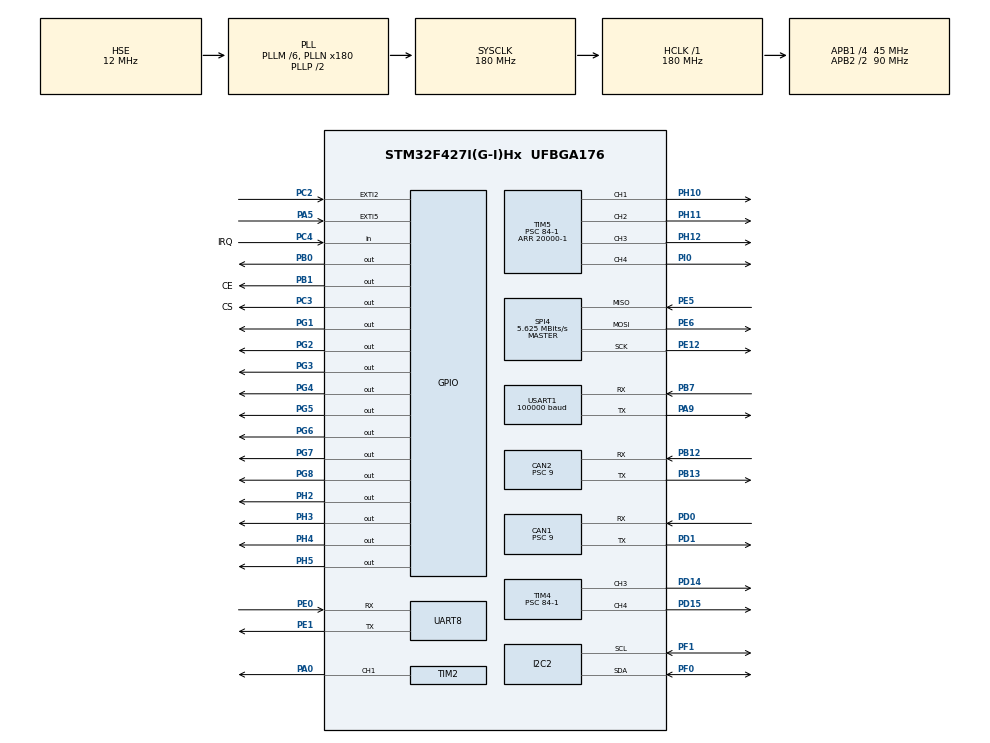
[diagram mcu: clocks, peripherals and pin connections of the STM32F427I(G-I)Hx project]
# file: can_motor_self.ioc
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CAN1.ABOM=DISABLE
CAN1.AWUM=DISABLE
CAN1.BS1=CAN_BS1_2TQ
CAN1.BS2=CAN_BS2_2TQ
CAN1.CalculateBaudRate=1000000
CAN1.CalculateTimeBit=1000
CAN1.CalculateTimeQuantum=200.0
CAN1.Prescaler=9
CAN1.TTCM=DISABLE
CAN2.BS1=CAN_BS1_2TQ
CAN2.BS2=CAN_BS2_2TQ
CAN2.CalculateBaudRate=1000000
CAN2.CalculateTimeBit=1000
CAN2.CalculateTimeQuantum=200.0
CAN2.Prescaler=9
Dma.Request0=UART8_TX
Dma.Request1=UART8_RX
Dma.UART8_RX.1.Direction=DMA_PERIPH_TO_MEMORY
Dma.UART8_RX.1.FIFOMode=DMA_FIFOMODE_DISABLE
Dma.UART8_RX.1.Instance=DMA1_Stream6
Dma.UART8_RX.1.MemDataAlignment=DMA_MDATAALIGN_BYTE
Dma.UART8_RX.1.MemInc=DMA_MINC_ENABLE
Dma.UART8_RX.1.Mode=DMA_NORMAL
Dma.UART8_RX.1.PeriphDataAlignment=DMA_PDATAALIGN_BYTE
Dma.UART8_RX.1.PeriphInc=DMA_PINC_DISABLE
Dma.UART8_RX.1.Priority=DMA_PRIORITY_VERY_HIGH
Dma.UART8_TX.0.Direction=DMA_MEMORY_TO_PERIPH
Dma.UART8_TX.0.FIFOMode=DMA_FIFOMODE_DISABLE
Dma.UART8_TX.0.Instance=DMA1_Stream0
Dma.UART8_TX.0.MemDataAlignment=DMA_MDATAALIGN_BYTE
Dma.UART8_TX.0.MemInc=DMA_MINC_ENABLE
Dma.UART8_TX.0.Mode=DMA_NORMAL
Dma.UART8_TX.0.PeriphDataAlignment=DMA_PDATAALIGN_BYTE
Dma.UART8_TX.0.PeriphInc=DMA_PINC_DISABLE
Dma.UART8_TX.0.Priority=DMA_PRIORITY_VERY_HIGH
Mcu.Family=STM32F4
Mcu.Name=STM32F427I(G-I)Hx
Mcu.Package=UFBGA176
NVIC.CAN1_RX0_IRQn=true\:0\:0\:false\:false\:true\:true\:true\:true
NVIC.CAN2_RX0_IRQn=true\:0\:0\:false\:false\:true\:true\:true\:true
NVIC.DMA1_Stream0_IRQn=true\:0\:0\:false\:false\:true\:false\:true\:true
NVIC.DMA1_Stream6_IRQn=true\:0\:0\:false\:false\:true\:false\:true\:true
NVIC.PriorityGroup=NVIC_PRIORITYGROUP_4
NVIC.TIM1_UP_TIM10_IRQn=true\:15\:0\:false\:false\:true\:false\:true\:true
NVIC.TimeBase=TIM1_UP_TIM10_IRQn
NVIC.TimeBaseIP=TIM1
NVIC.UART8_IRQn=true\:0\:0\:false\:false\:true\:true\:true\:true
NVIC.USART1_IRQn=true\:0\:0\:false\:false\:true\:true\:true\:true
PA0/WKUP.Signal=S_TIM2_CH1_ETR
PA1.Signal=S_TIM2_CH2
PA13.Mode=Serial_Wire
PA13.Signal=SYS_JTMS-SWDIO
PA14.Mode=Serial_Wire
PA14.Signal=SYS_JTCK-SWCLK
PA2.Signal=S_TIM2_CH3
PA5.Signal=GPXTI5
PA9.Mode=Asynchronous
PA9.Signal=USART1_TX
PB0.PinState=GPIO_PIN_SET
PB0.Signal=GPIO_Output
PB1.GPIO_Label=CE
PB1.GPIO_PuPd=GPIO_PULLUP
PB1.GPIO_Speed=GPIO_SPEED_FREQ_HIGH
PB1.PinState=GPIO_PIN_SET
PB1.Signal=GPIO_Output
PB12.Mode=CAN_Activate
PB12.Signal=CAN2_RX
PB13.Mode=CAN_Activate
PB13.Signal=CAN2_TX
PB7.Mode=Asynchronous
PB7.Signal=USART1_RX
PC2.Signal=GPXTI2
PC3.GPIO_Label=CS
PC3.GPIO_PuPd=GPIO_PULLUP
PC3.GPIO_Speed=GPIO_SPEED_FREQ_HIGH
PC3.PinState=GPIO_PIN_SET
PC3.Signal=GPIO_Output
PC4.GPIO_Label=IRQ
PC4.GPIO_PuPd=GPIO_PULLUP
PC4.Signal=GPIO_Input
PD0.Mode=CAN_Activate
PD0.Signal=CAN1_RX
PD1.Mode=CAN_Activate
PD1.Signal=CAN1_TX
PD14.Signal=S_TIM4_CH3
PD15.Signal=S_TIM4_CH4
PE0.Mode=Asynchronous
PE0.Signal=UART8_RX
PE1.Mode=Asynchronous
PE1.Signal=UART8_TX
PE12.Mode=Full_Duplex_Master
PE12.Signal=SPI4_SCK
PE5.Mode=Full_Duplex_Master
PE5.Signal=SPI4_MISO
PE6.Mode=Full_Duplex_Master
PE6.Signal=SPI4_MOSI
PE7.Signal=UART7_RX
PE8.Signal=UART7_TX
PF0.Mode=I2C
PF0.Signal=I2C2_SDA
PF1.Mode=I2C
PF1.Signal=I2C2_SCL
PG1.GPIO_ModeDefaultOutputPP=GPIO_MODE_OUTPUT_PP
PG1.GPIO_PuPd=GPIO_PULLUP
PG1.Signal=GPIO_Output
PG2.Signal=GPIO_Output
PG3.Signal=GPIO_Output
PG4.Signal=GPIO_Output
PG5.Signal=GPIO_Output
PG6.Signal=GPIO_Output
PG7.Signal=GPIO_Output
PG8.Signal=GPIO_Output
PH0/OSC_IN.Mode=HSE-External-Oscillator
PH0/OSC_IN.Signal=RCC_OSC_IN
PH1/OSC_OUT.Mode=HSE-External-Oscillator
PH1/OSC_OUT.Signal=RCC_OSC_OUT
PH10.Signal=S_TIM5_CH1
PH11.Signal=S_TIM5_CH2
PH12.Signal=S_TIM5_CH3
PH2.GPIO_PuPd=GPIO_PULLUP
PH2.Signal=GPIO_Output
PH3.GPIO_PuPd=GPIO_PULLUP
PH3.Signal=GPIO_Output
PH4.GPIO_PuPd=GPIO_PULLUP
PH4.PinState=GPIO_PIN_SET
PH4.Signal=GPIO_Output
PH5.GPIO_PuPd=GPIO_PULLUP
PH5.PinState=GPIO_PIN_RESET
PH5.Signal=GPIO_Output
PI0.Signal=S_TIM5_CH4
ProjectManager.HeapSize=0x200
ProjectManager.StackSize=0x400
ProjectManager.TargetToolchain=MDK-ARM V5.32
RCC.48MHZClocksFreq_Value=90000000
RCC.AHBFreq_Value=180000000
RCC.APB1CLKDivider=RCC_HCLK_DIV4
RCC.APB1Freq_Value=45000000
RCC.APB1TimFreq_Value=90000000
RCC.APB2CLKDivider=RCC_HCLK_DIV2
RCC.APB2Freq_Value=90000000
RCC.APB2TimFreq_Value=180000000
RCC.CortexFreq_Value=180000000
RCC.HCLKFreq_Value=180000000
RCC.HSE_VALUE=12000000
RCC.HSI_VALUE=16000000
RCC.LSE_VALUE=32768
RCC.PLLM=6
RCC.PLLN=180
RCC.PLLSourceVirtual=RCC_PLLSOURCE_HSE
RCC.SYSCLKFreq_VALUE=180000000
RCC.SYSCLKSource=RCC_SYSCLKSOURCE_PLLCLK
RCC.VCOOutputFreq_Value=360000000
SH.S_TIM2_CH1_ETR.0=TIM2_CH1,PWM Generation1 CH1
SH.S_TIM2_CH2.0=TIM2_CH2
SH.S_TIM2_CH3.0=TIM2_CH3
SH.S_TIM4_CH3.0=TIM4_CH3,PWM Generation3 CH3
SH.S_TIM4_CH4.0=TIM4_CH4,PWM Generation4 CH4
SH.S_TIM5_CH1.0=TIM5_CH1,PWM Generation1 CH1
SH.S_TIM5_CH2.0=TIM5_CH2,PWM Generation2 CH2
SH.S_TIM5_CH3.0=TIM5_CH3,PWM Generation3 CH3
SH.S_TIM5_CH4.0=TIM5_CH4,PWM Generation4 CH4
SPI4.BaudRatePrescaler=SPI_BAUDRATEPRESCALER_16
SPI4.CLKPhase=SPI_PHASE_1EDGE
SPI4.CLKPolarity=SPI_POLARITY_LOW
SPI4.CRCCalculation=SPI_CRCCALCULATION_DISABLE
SPI4.CalculateBaudRate=5.625 MBits/s
SPI4.DataSize=SPI_DATASIZE_8BIT
SPI4.Direction=SPI_DIRECTION_2LINES
SPI4.Mode=SPI_MODE_MASTER
SPI4.VirtualType=VM_MASTER
TIM2.AutoReloadPreload=TIM_AUTORELOAD_PRELOAD_ENABLE
TIM2.Channel-PWM\ Generation1\ CH1=TIM_CHANNEL_1
TIM2.Period=2000
TIM2.Prescaler=180-1
TIM2.Pulse-PWM\ Generation1\ CH1=0
TIM4.AutoReloadPreload=TIM_AUTORELOAD_PRELOAD_ENABLE
TIM4.Channel-PWM\ Generation3\ CH3=TIM_CHANNEL_3
TIM4.Channel-PWM\ Generation4\ CH4=TIM_CHANNEL_4
TIM4.Period=20000-1
TIM4.Prescaler=84-1
TIM5.AutoReloadPreload=TIM_AUTORELOAD_PRELOAD_ENABLE
TIM5.Channel-PWM\ Generation1\ CH1=TIM_CHANNEL_1
TIM5.Channel-PWM\ Generation2\ CH2=TIM_CHANNEL_2
TIM5.Channel-PWM\ Generation3\ CH3=TIM_CHANNEL_3
TIM5.Channel-PWM\ Generation4\ CH4=TIM_CHANNEL_4
TIM5.Period=20000-1
TIM5.Prescaler=84-1
UART8.VirtualMode=Asynchronous
USART1.BaudRate=100000
USART1.Mode=MODE_RX
USART1.VirtualMode=VM_ASYNC
VP_SYS_VS_tim1.Mode=TIM1
VP_TIM2_VS_ClockSourceINT.Mode=Internal
board=custom

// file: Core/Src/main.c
/* USER CODE BEGIN Header */
/**
  ******************************************************************************
  * @file           : main.c
  * @brief          : Main program body
  ******************************************************************************
  * @attention
  *
  * Copyright (c) 2024 STMicroelectronics.
  * All rights reserved.
  *
  * This software is licensed under terms that can be found in the LICENSE file
  * in the root directory of this software component.
  * If no LICENSE file comes with this software, it is provided AS-IS.
  *
  ******************************************************************************
  */
/* USER CODE END Header */
#include "main.h"
#include "can.h"
#include "dma.h"
#include "i2c.h"
#include "spi.h"
#include "tim.h"
#include "usart.h"
#include "gpio.h"

/* USER CODE BEGIN Includes */
#include "CAN_receive.h"
#include "bsp_can.h"
#include "A_bsp.h"
#include "motor.h"
#include "Servos.h"
#include "nrf24L01.h"
#include "stdio.h"
#include "remote_control.h"
#include "Vofa_firewater.h"
#include "JY901.h"
#include "JY901_struct.h"
#include "mapan.h"
#include "JYME01.h"
/* USER CODE END Includes */

void SystemClock_Config(void);

int main(void)
{

  /* MCU Configuration--------------------------------------------------------*/

  /* Reset of all peripherals, Initializes the Flash interface and the Systick. */
  HAL_Init();

  /* Configure the system clock */
  SystemClock_Config();

  /* Initialize all configured peripherals */
  MX_GPIO_Init();
  MX_DMA_Init();
  MX_CAN1_Init();
  MX_TIM2_Init();
  MX_SPI4_Init();
  MX_I2C2_Init();
  MX_TIM5_Init();
  MX_USART1_UART_Init();
  MX_CAN2_Init();
  MX_TIM4_Init();
  MX_UART8_Init();
  /* USER CODE BEGIN 2 */

//	remote_control_Init();
//	servos_Init();

  /* USER CODE END 2 */

  /* Infinite loop */
  /* USER CODE BEGIN WHILE */

	JYME01_Init(&huart8);
  while (1)
  {
		JYME01_Process(&huart8);
		HAL_Delay(1);

    /* USER CODE END WHILE */

  }
}

void SystemClock_Config(void)
{
  RCC_OscInitTypeDef RCC_OscInitStruct = {0};
  RCC_ClkInitTypeDef RCC_ClkInitStruct = {0};

  /** Configure the main internal regulator output voltage
  */
  __HAL_RCC_PWR_CLK_ENABLE();
  __HAL_PWR_VOLTAGESCALING_CONFIG(PWR_REGULATOR_VOLTAGE_SCALE1);

  /** Initializes the RCC Oscillators according to the specified parameters
  * in the RCC_OscInitTypeDef structure.
  */
  RCC_OscInitStruct.OscillatorType = RCC_OSCILLATORTYPE_HSE;
  RCC_OscInitStruct.HSEState = RCC_HSE_ON;
  RCC_OscInitStruct.PLL.PLLState = RCC_PLL_ON;
  RCC_OscInitStruct.PLL.PLLSource = RCC_PLLSOURCE_HSE;
  RCC_OscInitStruct.PLL.PLLM = 6;
  RCC_OscInitStruct.PLL.PLLN = 180;
  RCC_OscInitStruct.PLL.PLLP = RCC_PLLP_DIV2;
  RCC_OscInitStruct.PLL.PLLQ = 4;
  if (HAL_RCC_OscConfig(&RCC_OscInitStruct) != HAL_OK)
  {
    Error_Handler();
  }

  /** Activate the Over-Drive mode
  */
  if (HAL_PWREx_EnableOverDrive() != HAL_OK)
  {
    Error_Handler();
  }

  /** Initializes the CPU, AHB and APB buses clocks
  */
  RCC_ClkInitStruct.ClockType = RCC_CLOCKTYPE_HCLK|RCC_CLOCKTYPE_SYSCLK
                              |RCC_CLOCKTYPE_PCLK1|RCC_CLOCKTYPE_PCLK2;
  RCC_ClkInitStruct.SYSCLKSource = RCC_SYSCLKSOURCE_PLLCLK;
  RCC_ClkInitStruct.AHBCLKDivider = RCC_SYSCLK_DIV1;
  RCC_ClkInitStruct.APB1CLKDivider = RCC_HCLK_DIV4;
  RCC_ClkInitStruct.APB2CLKDivider = RCC_HCLK_DIV2;

  if (HAL_RCC_ClockConfig(&RCC_ClkInitStruct, FLASH_LATENCY_5) != HAL_OK)
  {
    Error_Handler();
  }
}

/* USER CODE BEGIN 4 */

void HAL_UART_RxCpltCallback(UART_HandleTypeDef *huart)
{
	if(huart->Instance == UART8)
	{
		JYME01_RxCpltCallback();

	}
}
/* USER CODE END 4 */

void HAL_TIM_PeriodElapsedCallback(TIM_HandleTypeDef *htim)
{
  if (htim->Instance == TIM1) {
    HAL_IncTick();
  }
}

void Error_Handler(void)
{
  __disable_irq();
  while (1)
  {
  }
}
